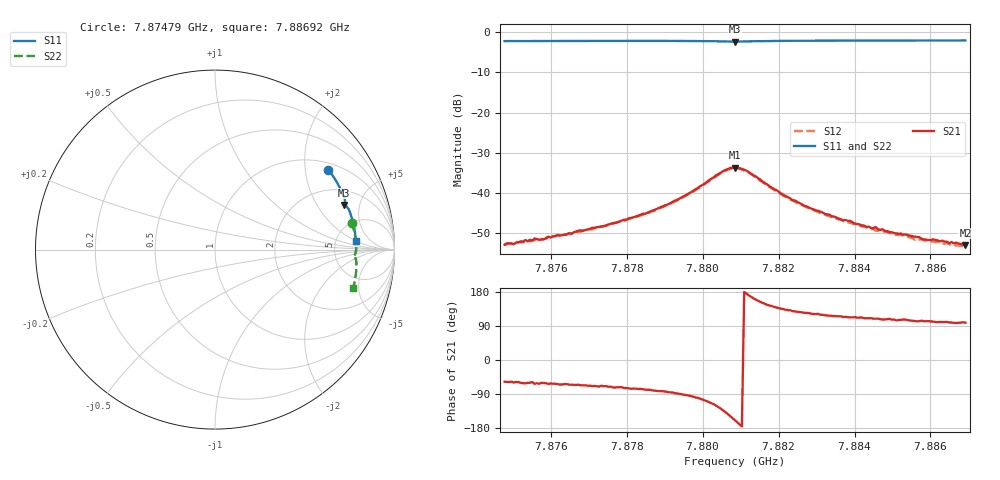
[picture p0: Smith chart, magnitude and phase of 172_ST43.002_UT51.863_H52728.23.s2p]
#  HZ  S  DB  R  50.00
! Rohde & Schwarz Vector Network Analyzer
! Rohde-Schwarz,ZNB20-2Port,1311601062101988,3.16
! Created: UTC 1/12/2023, 6:42:08 PM
! freq[Hz]  db:S11  ang:S11  db:S21  ang:S21  db:S12  ang:S12  db:S22  ang:S22
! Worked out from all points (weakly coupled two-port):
!   201 points, 7.87479 GHz to 7.88692 GHz, reference 50 ohm
!   highest |S21| = -33.66 dB at 7.88085 GHz (marker M1); lowest = -52.9 dB at 7.88692 GHz (marker M2)
!   lowest |S11| = -2.4 dB at 7.88085 GHz (marker M3), VSWR 7.40, Z = 150 + j178 ohm
!   |S11| at or under -10 dB: nowhere
!   |S22| runs from -2.3 to -1.9 dB; largest |S21 - S12| = 0.0013
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7.874788e9  -2.24 35.1  -52.85 -57.4  -52.89 -58.1  -2.17 11.0
7.875031e9  -2.24 34.4  -52.71 -59.5  -52.37 -61.7  -2.18 10.5
7.875334e9  -2.23 33.5  -51.69 -61.6  -52.14 -62.3  -2.16 9.9
7.875516e9  -2.23 33.0  -51.83 -58.3  -51.72 -62.6  -2.16 9.4
7.875577e9  -2.22 32.9  -51.30 -63.0  -51.74 -63.0  -2.16 9.2
7.875698e9  -2.23 32.5  -51.64 -62.7  -51.32 -64.6  -2.15 9.0
7.876001e9  -2.22 31.7  -51.06 -62.1  -51.22 -66.2  -2.15 8.2
7.876851e9  -2.21 29.4  -49.39 -67.0  -49.33 -70.4  -2.11 6.2
7.877942e9  -2.20 26.4  -46.62 -74.2  -46.89 -76.5  -2.09 3.7
7.878852e9  -2.19 23.9  -43.71 -82.1  -43.81 -85.0  -2.09 1.5
7.87958e9  -2.20 21.8  -40.44 -92.9  -40.57 -96.0  -2.09 -0.3
7.88055e9  -2.32 19.2  -34.48 -133.6  -34.72 -136.8  -2.21 -2.5
7.880854e9  -2.36 19.0  -33.66 -159.2  -33.86 -162.5  -2.26 -2.6
7.881157e9  -2.32 18.8  -34.45 175.4  -34.68 171.7  -2.22 -2.7
7.882127e9  -2.17 16.3  -40.47 134.2  -40.67 130.5  -2.05 -4.6
7.882916e9  -2.14 14.1  -44.03 121.4  -44.19 118.5  -2.01 -6.5
7.883704e9  -2.12 11.9  -46.78 113.4  -46.96 111.8  -1.99 -8.4
7.884432e9  -2.11 10.0  -48.69 110.4  -48.97 107.3  -1.98 -10.0
7.884554e9  -2.11 9.7  -48.46 109.3  -49.31 104.9  -1.97 -10.3
7.884917e9  -2.10 8.7  -49.68 108.7  -49.97 103.8  -1.97 -11.1
7.885585e9  -2.10 7.0  -50.84 102.7  -51.56 99.8  -1.96 -12.5
7.886919e9  -2.09 3.5  -52.89 98.4  -53.20 95.1  -1.95 -15.4
